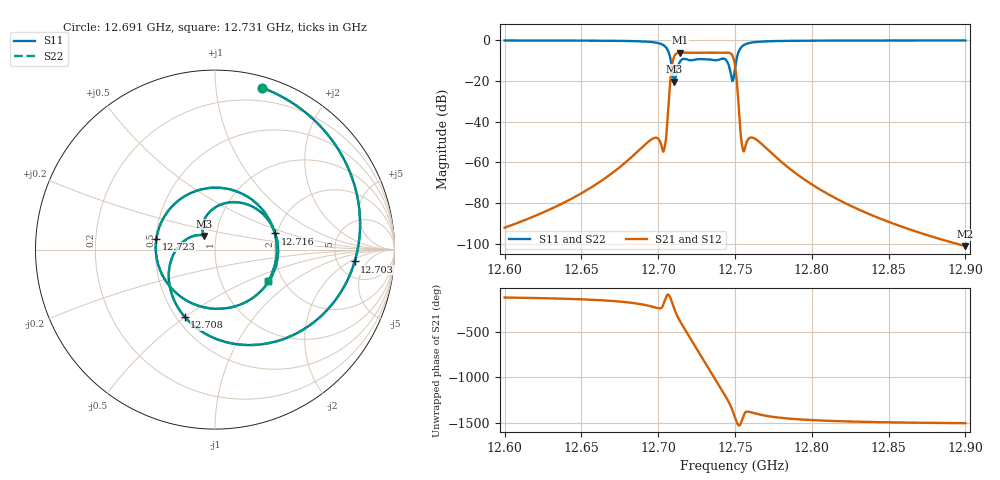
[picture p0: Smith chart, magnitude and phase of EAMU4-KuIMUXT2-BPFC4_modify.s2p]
! Created with skrf (http://scikit-rf.org).
! Parameters = {f0=12729.5; bw=39.17; Q=6100; N=12; m_0_1=1.2518988847732544; m_1_1=-0.001992508303374052; m_1_2=1.0546101331710815; m_2_2=-0.0009656145703047514; m_2_3=0.6689338684082031; m_2_10=-4.322784297983162e-05; m_2_11=0.011188280768692493; m_3_3=-0.0033175204880535603; m_3_4=0.5944368243217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
# MHz S RI R 50.0
!freq ReS11 ImS11 ReS21 ImS21 ReS12 ImS12 ReS22 ImS22
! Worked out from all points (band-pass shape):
!   5001 points, 12.6 GHz to 12.9 GHz, reference 50 ohm
!   highest |S21| = -6.00 dB at 12.714 GHz (marker M1); lowest = -101.3 dB at 12.9 GHz (marker M2)
!   |S21| within 3 dB of the highest: 12.70993 GHz to 12.7491 GHz (39.17 MHz wide, 0.308 % of centre)
!   lowest |S11| = -20.2 dB at 12.711 GHz (marker M3), VSWR 1.22, Z = 43.8 + j6.77 ohm
!   |S11| at or under -10 dB: 12.70821 GHz to 12.71458 GHz (6.375 MHz wide, 0.0502 % of centre); 12.74454 GHz to 12.75084 GHz (6.301 MHz wide, 0.0494 % of centre)
!   |S22| runs from -20.2 to 0.0 dB; largest |S21 - S12| = 0
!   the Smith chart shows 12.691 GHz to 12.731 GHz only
!   S11 on the Smith chart (normalised r, x): 12.691 GHz: 0.09, +1.33; 12.703 GHz: 7.30, -2.46; 12.708 GHz: 0.55, -0.50; 12.716 GHz: 1.96, +0.40; 12.723 GHz: 0.50, +0.07; 12.731 GHz: 1.67, -0.67
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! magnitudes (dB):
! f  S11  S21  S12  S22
! 12.6 GHz  0.0  -92.2  -92.2  0.0
! 12.65 GHz  -0.1  -75.2  -75.2  -0.1
! 12.691 GHz  -0.5  -51.6  -51.6  -0.5
! 12.7 GHz  -1.3  -48.4  -48.4  -1.3
! 12.703 GHz  -2.1  -54.4  -54.4  -2.1
! 12.705 GHz  -3.2  -49.5  -49.5  -3.2
! 12.708 GHz  -7.7  -22.7  -22.7  -7.7
! 12.711 GHz  -20.2  -7.8  -7.8  -20.2
! 12.714 GHz  -10.5  -6.0  -6.0  -10.5
! 12.716 GHz  -9.2  -6.0  -6.0  -9.2
! 12.723 GHz  -9.6  -6.1  -6.1  -9.6
! 12.731 GHz  -9.3  -6.0  -6.0  -9.3
! 12.743 GHz  -9.1  -6.1  -6.1  -9.1
! 12.747 GHz  -14.0  -6.2  -6.2  -14.0
! 12.75 GHz  -13.9  -12.3  -12.3  -13.9
! 12.754 GHz  -3.5  -48.2  -48.2  -3.5
! 12.755 GHz  -2.4  -54.5  -54.5  -2.4
! 12.763 GHz  -0.9  -48.3  -48.3  -0.9
! 12.8 GHz  -0.1  -70.9  -70.9  -0.1
! 12.822 GHz  -0.1  -80.0  -80.0  -0.1
! 12.85 GHz  0.0  -89.3  -89.3  0.0
! 12.9 GHz  0.0  -101.3  -101.3  0.0
